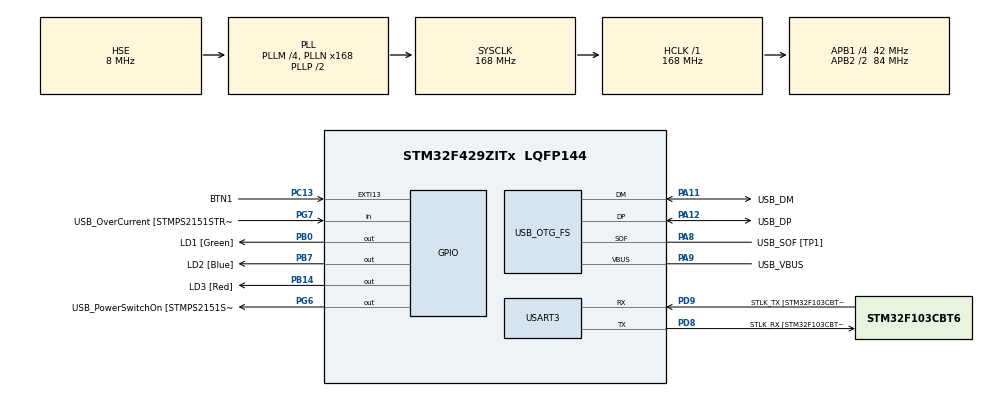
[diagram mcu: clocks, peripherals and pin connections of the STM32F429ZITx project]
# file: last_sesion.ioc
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Mcu.Family=STM32F4
Mcu.Name=STM32F429ZITx
Mcu.Package=LQFP144
NVIC.OTG_FS_IRQn=true\:0\:0\:false\:false\:true\:false\:true\:true
NVIC.PriorityGroup=NVIC_PRIORITYGROUP_4
PA1.GPIO_Label=RMII_REF_CLK [LAN8742A-CZ-TR_REFCLK0]
PA1.Signal=ETH_REF_CLK
PA10.GPIO_Label=USB_ID
PA10.Signal=USB_OTG_FS_ID
PA11.GPIO_Label=USB_DM
PA11.Mode=Device_Only
PA11.Signal=USB_OTG_FS_DM
PA12.GPIO_Label=USB_DP
PA12.Mode=Device_Only
PA12.Signal=USB_OTG_FS_DP
PA13.GPIO_Label=TMS
PA13.Mode=Serial_Wire
PA13.Signal=SYS_JTMS-SWDIO
PA14.GPIO_Label=TCK
PA14.Mode=Serial_Wire
PA14.Signal=SYS_JTCK-SWCLK
PA2.GPIO_Label=RMII_MDIO [LAN8742A-CZ-TR_MDIO]
PA2.Signal=ETH_MDIO
PA7.GPIO_Label=RMII_CRS_DV [LAN8742A-CZ-TR_CRS_DV]
PA7.Signal=ETH_CRS_DV
PA8.GPIO_Label=USB_SOF [TP1]
PA8.Mode=Activate_SOF_FS
PA8.Signal=USB_OTG_FS_SOF
PA9.GPIO_Label=USB_VBUS
PA9.Mode=Activate_VBUS
PA9.Signal=USB_OTG_FS_VBUS
PB0.GPIO_Label=LD1 [Green]
PB0.Signal=GPIO_Output
PB13.GPIO_Label=RMII_TXD1 [LAN8742A-CZ-TR_TXD1]
PB13.Signal=ETH_TXD1
PB14.GPIO_Label=LD3 [Red]
PB14.Signal=GPIO_Output
PB7.GPIO_Label=LD2 [Blue]
PB7.Signal=GPIO_Output
PC1.GPIO_Label=RMII_MDC [LAN8742A-CZ-TR_MDC]
PC1.Signal=ETH_MDC
PC13.GPIO_Label=BTN1
PC13.Signal=GPXTI13
PC14/OSC32_IN.Mode=LSE-External-Oscillator
PC14/OSC32_IN.Signal=RCC_OSC32_IN
PC15/OSC32_OUT.Mode=LSE-External-Oscillator
PC15/OSC32_OUT.Signal=RCC_OSC32_OUT
PC4.GPIO_Label=RMII_RXD0 [LAN8742A-CZ-TR_RXD0]
PC4.Signal=ETH_RXD0
PC5.GPIO_Label=RMII_RXD1 [LAN8742A-CZ-TR_RXD1]
PC5.Signal=ETH_RXD1
PD8.GPIO_Label=STLK_RX [STM32F103CBT6_PA3]
PD8.Mode=Asynchronous
PD8.Signal=USART3_TX
PD9.GPIO_Label=STLK_TX [STM32F103CBT6_PA2]
PD9.Mode=Asynchronous
PD9.Signal=USART3_RX
PG11.GPIO_Label=RMII_TX_EN [LAN8742A-CZ-TR_TXEN]
PG11.Signal=ETH_TX_EN
PG13.GPIO_Label=RMII_TXD0 [LAN8742A-CZ-TR_TXD0]
PG13.Signal=ETH_TXD0
PG6.GPIO_Label=USB_PowerSwitchOn [STMPS2151STR_EN]
PG6.Signal=GPIO_Output
PG7.GPIO_Label=USB_OverCurrent [STMPS2151STR_FAULT]
PG7.Signal=GPIO_Input
PH0/OSC_IN.GPIO_Label=MCO [STM32F103CBT6_PA8]
PH0/OSC_IN.Mode=HSE-External-Clock-Source
PH0/OSC_IN.Signal=RCC_OSC_IN
PH1/OSC_OUT.Mode=HSE-External-Clock-Source
PH1/OSC_OUT.Signal=RCC_OSC_OUT
ProjectManager.HeapSize=0x200
ProjectManager.StackSize=0x400
ProjectManager.TargetToolchain=STM32CubeIDE
RCC.48MHZClocksFreq_Value=48000000
RCC.AHBFreq_Value=168000000
RCC.APB1CLKDivider=RCC_HCLK_DIV4
RCC.APB1Freq_Value=42000000
RCC.APB1TimFreq_Value=84000000
RCC.APB2CLKDivider=RCC_HCLK_DIV2
RCC.APB2Freq_Value=84000000
RCC.APB2TimCLKDivider=2
RCC.APB2TimFreq_Value=168000000
RCC.CortexFreq_Value=168000000
RCC.HCLKFreq_Value=168000000
RCC.HSE_VALUE=8000000
RCC.HSI_VALUE=16000000
RCC.PLLM=4
RCC.PLLMUL=RCC_PLL_MUL9
RCC.PLLN=168
RCC.PLLQ=7
RCC.PRESCALERUSB=RCC_USBCLKSOURCE_PLL_DIV1_5
RCC.SYSCLKFreq_VALUE=168000000
RCC.SYSCLKSource=RCC_SYSCLKSOURCE_PLLCLK
RCC.SYSCLKSourceVirtual=RCC_SYSCLKSOURCE_PLLCLK
RCC.USBFreq_Value=48000000
RCC.VCOOutputFreq_Value=336000000
USART3.VirtualMode=VM_ASYNC
USB_DEVICE.CLASS_NAME_FS=HID
USB_DEVICE.VirtualMode-HID_FS=Hid
USB_DEVICE.VirtualModeFS=Hid_FS
USB_OTG_FS.VirtualMode=Device_Only
VP_USB_DEVICE_VS_USB_DEVICE_HID_FS.Mode=HID_FS
board=NUCLEO-F429ZI

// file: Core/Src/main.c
/* USER CODE BEGIN Header */
/**
 ******************************************************************************
 * @file           : main.c
 * @brief          : Main program body
 ******************************************************************************
 * @attention
 *
 * Copyright (c) 2024 STMicroelectronics.
 * All rights reserved.
 *
 * This software is licensed under terms that can be found in the LICENSE file
 * in the root directory of this software component.
 * If no LICENSE file comes with this software, it is provided AS-IS.
 *
 ******************************************************************************
 */
/* USER CODE END Header */
#include "main.h"
#include "usb_device.h"

/* USER CODE BEGIN Includes */
#include "usbd_hid.h"
#include "math.h"
/* USER CODE END Includes */

UART_HandleTypeDef huart3;

/* USER CODE BEGIN PV */
extern USBD_HandleTypeDef hUsbDeviceFS;
/* USER CODE END PV */

void SystemClock_Config(void);
static void MX_GPIO_Init(void);
static void MX_USART3_UART_Init(void);

/* USER CODE BEGIN 0 */
void step(int x, int y, uint8_t btn){
	uint8_t buff[4];
	buff[0] = btn; // press the left button
	buff[1] = (int8_t)(x); // shift X +10
	buff[2] = (int8_t)(y); // shift Y -3
	buff[3] = 0; // no scroll
	USBD_HID_SendReport(&hUsbDeviceFS, buff, sizeof(buff));
	HAL_Delay(USBD_HID_GetPollingInterval(&hUsbDeviceFS));

}
void draw_circule(float radius, int px,int py){
	float x = 0;
	float y =0;
	step(px,py,0);
	float stepSize = 1; // Smaller angle step for smoother curve
	for (float i = 0; i <= 360; i += stepSize) {
	    x = radius * cos(i * (M_PI / 180.0)); // Convert to radians
	    y = radius * sin(i * (M_PI / 180.0)); // Convert to radians
	    step(x, y, 0x01);
	}
	step(0,0,0);
}
void draw_line(int len,int px,int py, uint8_t ver){
	int x = px;
	int y = py;
	step(px,py,0);

	step(x,y,0x01);
	if(ver){
		y+=len;
	}
	else{
		x+=len;
	}
	step(x,y,0x01);

	step(0,0,0);
}
void draw_half_circule(float radius, int px,int py){
	float x = 0;
	float y =0;
	step(px,py,0);
	for (int i =0; i<=180;i++){
		int xx = px;
		int yy = py;
		x = radius * sin(i*(M_PI/180));
		y = radius * cos(i*(M_PI/180));
		step(x, y, 0x01);
	}
	step(0,0,0);
}
/* USER CODE END 0 */

int main(void)
{

	/* MCU Configuration--------------------------------------------------------*/

	/* Reset of all peripherals, Initializes the Flash interface and the Systick. */
	HAL_Init();

	/* Configure the system clock */
	SystemClock_Config();

	/* Initialize all configured peripherals */
	MX_GPIO_Init();
	MX_USART3_UART_Init();
	MX_USB_DEVICE_Init();

	/* Infinite loop */
	while (1)
	{
		if(HAL_GPIO_ReadPin(BTN1_GPIO_Port, BTN1_Pin)){
			draw_circule(6, 0, 0);
			draw_line(10, 0, 40, 1);
			draw_circule(2, -50,-60);
			draw_circule(2, 125,0);
			draw_half_circule(4, -125,110);

		}
	}
}

void SystemClock_Config(void)
{
	RCC_OscInitTypeDef RCC_OscInitStruct = {0};
	RCC_ClkInitTypeDef RCC_ClkInitStruct = {0};

	/** Configure the main internal regulator output voltage
	 */
	__HAL_RCC_PWR_CLK_ENABLE();
	__HAL_PWR_VOLTAGESCALING_CONFIG(PWR_REGULATOR_VOLTAGE_SCALE1);

	/** Initializes the RCC Oscillators according to the specified parameters
	 * in the RCC_OscInitTypeDef structure.
	 */
	RCC_OscInitStruct.OscillatorType = RCC_OSCILLATORTYPE_HSE;
	RCC_OscInitStruct.HSEState = RCC_HSE_BYPASS;
	RCC_OscInitStruct.PLL.PLLState = RCC_PLL_ON;
	RCC_OscInitStruct.PLL.PLLSource = RCC_PLLSOURCE_HSE;
	RCC_OscInitStruct.PLL.PLLM = 4;
	RCC_OscInitStruct.PLL.PLLN = 168;
	RCC_OscInitStruct.PLL.PLLP = RCC_PLLP_DIV2;
	RCC_OscInitStruct.PLL.PLLQ = 7;
	if (HAL_RCC_OscConfig(&RCC_OscInitStruct) != HAL_OK)
	{
		Error_Handler();
	}

	/** Initializes the CPU, AHB and APB buses clocks
	 */
	RCC_ClkInitStruct.ClockType = RCC_CLOCKTYPE_HCLK|RCC_CLOCKTYPE_SYSCLK
			|RCC_CLOCKTYPE_PCLK1|RCC_CLOCKTYPE_PCLK2;
	RCC_ClkInitStruct.SYSCLKSource = RCC_SYSCLKSOURCE_PLLCLK;
	RCC_ClkInitStruct.AHBCLKDivider = RCC_SYSCLK_DIV1;
	RCC_ClkInitStruct.APB1CLKDivider = RCC_HCLK_DIV4;
	RCC_ClkInitStruct.APB2CLKDivider = RCC_HCLK_DIV2;

	if (HAL_RCC_ClockConfig(&RCC_ClkInitStruct, FLASH_LATENCY_5) != HAL_OK)
	{
		Error_Handler();
	}
}

static void MX_USART3_UART_Init(void)
{

	huart3.Instance = USART3;
	huart3.Init.BaudRate = 115200;
	huart3.Init.WordLength = UART_WORDLENGTH_8B;
	huart3.Init.StopBits = UART_STOPBITS_1;
	huart3.Init.Parity = UART_PARITY_NONE;
	huart3.Init.Mode = UART_MODE_TX_RX;
	huart3.Init.HwFlowCtl = UART_HWCONTROL_NONE;
	huart3.Init.OverSampling = UART_OVERSAMPLING_16;
	if (HAL_UART_Init(&huart3) != HAL_OK)
	{
		Error_Handler();
	}

}

static void MX_GPIO_Init(void)
{
	GPIO_InitTypeDef GPIO_InitStruct = {0};

	/* GPIO Ports Clock Enable */
	__HAL_RCC_GPIOC_CLK_ENABLE();
	__HAL_RCC_GPIOH_CLK_ENABLE();
	__HAL_RCC_GPIOA_CLK_ENABLE();
	__HAL_RCC_GPIOB_CLK_ENABLE();
	__HAL_RCC_GPIOD_CLK_ENABLE();
	__HAL_RCC_GPIOG_CLK_ENABLE();

	/*Configure GPIO pin Output Level */
	HAL_GPIO_WritePin(GPIOB, LD1_Pin|LD3_Pin|LD2_Pin, GPIO_PIN_RESET);

	/*Configure GPIO pin Output Level */
	HAL_GPIO_WritePin(USB_PowerSwitchOn_GPIO_Port, USB_PowerSwitchOn_Pin, GPIO_PIN_RESET);

	/*Configure GPIO pin : BTN1_Pin */
	GPIO_InitStruct.Pin = BTN1_Pin;
	GPIO_InitStruct.Mode = GPIO_MODE_IT_RISING;
	GPIO_InitStruct.Pull = GPIO_NOPULL;
	HAL_GPIO_Init(BTN1_GPIO_Port, &GPIO_InitStruct);

	/*Configure GPIO pins : RMII_MDC_Pin RMII_RXD0_Pin RMII_RXD1_Pin */
	GPIO_InitStruct.Pin = RMII_MDC_Pin|RMII_RXD0_Pin|RMII_RXD1_Pin;
	GPIO_InitStruct.Mode = GPIO_MODE_AF_PP;
	GPIO_InitStruct.Pull = GPIO_NOPULL;
	GPIO_InitStruct.Speed = GPIO_SPEED_FREQ_VERY_HIGH;
	GPIO_InitStruct.Alternate = GPIO_AF11_ETH;
	HAL_GPIO_Init(GPIOC, &GPIO_InitStruct);

	/*Configure GPIO pins : RMII_REF_CLK_Pin RMII_MDIO_Pin RMII_CRS_DV_Pin */
	GPIO_InitStruct.Pin = RMII_REF_CLK_Pin|RMII_MDIO_Pin|RMII_CRS_DV_Pin;
	GPIO_InitStruct.Mode = GPIO_MODE_AF_PP;
	GPIO_InitStruct.Pull = GPIO_NOPULL;
	GPIO_InitStruct.Speed = GPIO_SPEED_FREQ_VERY_HIGH;
	GPIO_InitStruct.Alternate = GPIO_AF11_ETH;
	HAL_GPIO_Init(GPIOA, &GPIO_InitStruct);

	/*Configure GPIO pins : LD1_Pin LD3_Pin LD2_Pin */
	GPIO_InitStruct.Pin = LD1_Pin|LD3_Pin|LD2_Pin;
	GPIO_InitStruct.Mode = GPIO_MODE_OUTPUT_PP;
	GPIO_InitStruct.Pull = GPIO_NOPULL;
	GPIO_InitStruct.Speed = GPIO_SPEED_FREQ_LOW;
	HAL_GPIO_Init(GPIOB, &GPIO_InitStruct);

	/*Configure GPIO pin : RMII_TXD1_Pin */
	GPIO_InitStruct.Pin = RMII_TXD1_Pin;
	GPIO_InitStruct.Mode = GPIO_MODE_AF_PP;
	GPIO_InitStruct.Pull = GPIO_NOPULL;
	GPIO_InitStruct.Speed = GPIO_SPEED_FREQ_VERY_HIGH;
	GPIO_InitStruct.Alternate = GPIO_AF11_ETH;
	HAL_GPIO_Init(RMII_TXD1_GPIO_Port, &GPIO_InitStruct);

	/*Configure GPIO pin : USB_PowerSwitchOn_Pin */
	GPIO_InitStruct.Pin = USB_PowerSwitchOn_Pin;
	GPIO_InitStruct.Mode = GPIO_MODE_OUTPUT_PP;
	GPIO_InitStruct.Pull = GPIO_NOPULL;
	GPIO_InitStruct.Speed = GPIO_SPEED_FREQ_LOW;
	HAL_GPIO_Init(USB_PowerSwitchOn_GPIO_Port, &GPIO_InitStruct);

	/*Configure GPIO pin : USB_OverCurrent_Pin */
	GPIO_InitStruct.Pin = USB_OverCurrent_Pin;
	GPIO_InitStruct.Mode = GPIO_MODE_INPUT;
	GPIO_InitStruct.Pull = GPIO_NOPULL;
	HAL_GPIO_Init(USB_OverCurrent_GPIO_Port, &GPIO_InitStruct);

	/*Configure GPIO pins : RMII_TX_EN_Pin RMII_TXD0_Pin */
	GPIO_InitStruct.Pin = RMII_TX_EN_Pin|RMII_TXD0_Pin;
	GPIO_InitStruct.Mode = GPIO_MODE_AF_PP;
	GPIO_InitStruct.Pull = GPIO_NOPULL;
	GPIO_InitStruct.Speed = GPIO_SPEED_FREQ_VERY_HIGH;
	GPIO_InitStruct.Alternate = GPIO_AF11_ETH;
	HAL_GPIO_Init(GPIOG, &GPIO_InitStruct);

}

void Error_Handler(void)
{
	__disable_irq();
	while (1)
	{
	}
}
